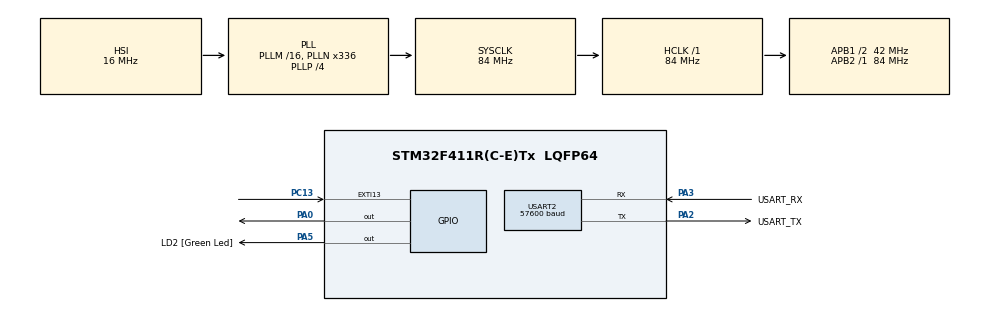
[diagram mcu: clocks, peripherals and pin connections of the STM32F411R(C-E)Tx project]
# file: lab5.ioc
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Dma.Request0=USART2_RX
Dma.Request1=USART2_TX
Dma.USART2_RX.0.Direction=DMA_PERIPH_TO_MEMORY
Dma.USART2_RX.0.FIFOMode=DMA_FIFOMODE_DISABLE
Dma.USART2_RX.0.Instance=DMA1_Stream5
Dma.USART2_RX.0.MemDataAlignment=DMA_MDATAALIGN_BYTE
Dma.USART2_RX.0.MemInc=DMA_MINC_ENABLE
Dma.USART2_RX.0.Mode=DMA_CIRCULAR
Dma.USART2_RX.0.PeriphDataAlignment=DMA_PDATAALIGN_BYTE
Dma.USART2_RX.0.PeriphInc=DMA_PINC_DISABLE
Dma.USART2_RX.0.Priority=DMA_PRIORITY_LOW
Dma.USART2_TX.1.Direction=DMA_MEMORY_TO_PERIPH
Dma.USART2_TX.1.FIFOMode=DMA_FIFOMODE_DISABLE
Dma.USART2_TX.1.Instance=DMA1_Stream6
Dma.USART2_TX.1.MemDataAlignment=DMA_MDATAALIGN_BYTE
Dma.USART2_TX.1.MemInc=DMA_MINC_ENABLE
Dma.USART2_TX.1.Mode=DMA_NORMAL
Dma.USART2_TX.1.PeriphDataAlignment=DMA_PDATAALIGN_BYTE
Dma.USART2_TX.1.PeriphInc=DMA_PINC_DISABLE
Dma.USART2_TX.1.Priority=DMA_PRIORITY_LOW
Mcu.Family=STM32F4
Mcu.Name=STM32F411R(C-E)Tx
Mcu.Package=LQFP64
NVIC.DMA1_Stream5_IRQn=true\:0\:0\:false\:false\:true\:false\:true\:true
NVIC.DMA1_Stream6_IRQn=true\:0\:0\:false\:false\:true\:false\:true\:true
NVIC.PriorityGroup=NVIC_PRIORITYGROUP_0
NVIC.USART2_IRQn=true\:0\:0\:false\:false\:true\:true\:true\:true
PA0-WKUP.Signal=GPIO_Output
PA13.GPIO_Label=TMS
PA13.Mode=Serial_Wire
PA13.Signal=SYS_JTMS-SWDIO
PA14.GPIO_Label=TCK
PA14.Mode=Serial_Wire
PA14.Signal=SYS_JTCK-SWCLK
PA2.GPIO_Label=USART_TX
PA2.Mode=Asynchronous
PA2.Signal=USART2_TX
PA3.GPIO_Label=USART_RX
PA3.Mode=Asynchronous
PA3.Signal=USART2_RX
PA5.GPIO_Label=LD2 [Green Led]
PA5.Signal=GPIO_Output
PB3.GPIO_Label=SWO
PB3.Signal=SYS_JTDO-SWO
PC13-ANTI_TAMP.Signal=GPXTI13
PC14-OSC32_IN.Mode=LSE-External-Oscillator
PC14-OSC32_IN.Signal=RCC_OSC32_IN
PC15-OSC32_OUT.Mode=LSE-External-Oscillator
PC15-OSC32_OUT.Signal=RCC_OSC32_OUT
PH0\ -\ OSC_IN.Mode=HSE-External-Clock-Source
PH0\ -\ OSC_IN.Signal=RCC_OSC_IN
PH1\ -\ OSC_OUT.Mode=HSE-External-Clock-Source
PH1\ -\ OSC_OUT.Signal=RCC_OSC_OUT
ProjectManager.HeapSize=0x200
ProjectManager.StackSize=0x400
ProjectManager.TargetToolchain=STM32CubeIDE
RCC.48MHZClocksFreq_Value=84000000
RCC.AHBFreq_Value=84000000
RCC.APB1CLKDivider=RCC_HCLK_DIV2
RCC.APB1Freq_Value=42000000
RCC.APB1TimFreq_Value=84000000
RCC.APB2Freq_Value=84000000
RCC.APB2TimFreq_Value=84000000
RCC.CortexFreq_Value=84000000
RCC.FLatency-AdvancedSettings=FLASH_LATENCY_2
RCC.HCLKFreq_Value=84000000
RCC.HSE_VALUE=8000000
RCC.HSI_VALUE=16000000
RCC.PLLN=336
RCC.PLLP=RCC_PLLP_DIV4
RCC.SYSCLKFreq_VALUE=84000000
RCC.SYSCLKSource=RCC_SYSCLKSOURCE_PLLCLK
RCC.VCOOutputFreq_Value=336000000
USART2.BaudRate=57600
USART2.VirtualMode=VM_ASYNC
board=NUCLEO-F411RE

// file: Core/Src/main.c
/* USER CODE BEGIN Header */
/**
 ******************************************************************************
 * @file           : main.c
 * @brief          : Main program body
 ******************************************************************************
 * @attention
 *
 * Copyright (c) 2023 STMicroelectronics.
 * All rights reserved.
 *
 * This software is licensed under terms that can be found in the LICENSE file
 * in the root directory of this software component.
 * If no LICENSE file comes with this software, it is provided AS-IS.
 *
 ******************************************************************************
 */
/* USER CODE END Header */
#include "main.h"

/* USER CODE BEGIN Includes */
// Napat Uraisomsurat
#include "stdio.h"
#include "string.h"
/* USER CODE END Includes */

UART_HandleTypeDef huart2;
DMA_HandleTypeDef hdma_usart2_rx;
DMA_HandleTypeDef hdma_usart2_tx;

/* USER CODE BEGIN PV */
uint8_t RxBuffer[2];
uint8_t TxBuffer[200] = {0};

uint8_t MyHz[5];

uint8_t Input = 0;
uint8_t OnOff = 0;
int8_t Hz = 5;
uint8_t Mode0Flag = 0;
uint8_t Mode1Flag = 0;

uint8_t back[] =
		"\r\nBack to main menu\r\n\r\nPlease select mode\r\n -> 0 : LED Control\r\n -> 1 : Button Status\r\n__________________________\r\n";
uint8_t unpress[] = "Unpress Button\r\n";
uint8_t press[] = "Press Button\r\n";
uint8_t welcome[] =
		"__________________________\r\n\r\n   Welcome to main menu!  \r\n__________________________\r\n\r\n -> 0 : LED Control\r\n -> 1 : Button Status\r\n";

// create structure type
struct _GPIOState {
	GPIO_PinState Current;
	GPIO_PinState Last;
};

// declare variable
struct _GPIOState Button1;

/* USER CODE END PV */

void SystemClock_Config(void);
static void MX_GPIO_Init(void);
static void MX_DMA_Init(void);
static void MX_USART2_UART_Init(void);
/* USER CODE BEGIN PFP */
void UARTInterruptConfig();
void AssignMode();
void ButtonStatus();
void LEDControl();
void BlinkLED();
void WrongInput();
/* USER CODE END PFP */

int main(void) {

	/* MCU Configuration--------------------------------------------------------*/

	/* Reset of all peripherals, Initializes the Flash interface and the Systick. */
	HAL_Init();

	/* Configure the system clock */
	SystemClock_Config();

	/* Initialize all configured peripherals */
	MX_GPIO_Init();
	MX_DMA_Init();
	MX_USART2_UART_Init();
	/* USER CODE BEGIN 2 */
	HAL_UART_Transmit_DMA(&huart2, welcome, sizeof(welcome) - 1);

	UARTInterruptConfig();
	/* USER CODE END 2 */

	/* Infinite loop */
	while (1) {

		/* USER CODE BEGIN 3 */
		HAL_GPIO_TogglePin(GPIOA, GPIO_PIN_0);

		if (Mode1Flag) {
			ButtonStatus();
		}
		if (OnOff == 1) {
			BlinkLED();
		} else if (OnOff == 0) {
			HAL_GPIO_WritePin(GPIOA, GPIO_PIN_5, 0);
		}

	}
	/* USER CODE END 3 */
}

void SystemClock_Config(void) {
	RCC_OscInitTypeDef RCC_OscInitStruct = { 0 };
	RCC_ClkInitTypeDef RCC_ClkInitStruct = { 0 };

	/** Configure the main internal regulator output voltage
	 */
	__HAL_RCC_PWR_CLK_ENABLE();
	__HAL_PWR_VOLTAGESCALING_CONFIG(PWR_REGULATOR_VOLTAGE_SCALE1);

	/** Initializes the RCC Oscillators according to the specified parameters
	 * in the RCC_OscInitTypeDef structure.
	 */
	RCC_OscInitStruct.OscillatorType = RCC_OSCILLATORTYPE_HSI;
	RCC_OscInitStruct.HSIState = RCC_HSI_ON;
	RCC_OscInitStruct.HSICalibrationValue = RCC_HSICALIBRATION_DEFAULT;
	RCC_OscInitStruct.PLL.PLLState = RCC_PLL_ON;
	RCC_OscInitStruct.PLL.PLLSource = RCC_PLLSOURCE_HSI;
	RCC_OscInitStruct.PLL.PLLM = 16;
	RCC_OscInitStruct.PLL.PLLN = 336;
	RCC_OscInitStruct.PLL.PLLP = RCC_PLLP_DIV4;
	RCC_OscInitStruct.PLL.PLLQ = 4;
	if (HAL_RCC_OscConfig(&RCC_OscInitStruct) != HAL_OK) {
		Error_Handler();
	}

	/** Initializes the CPU, AHB and APB buses clocks
	 */
	RCC_ClkInitStruct.ClockType = RCC_CLOCKTYPE_HCLK | RCC_CLOCKTYPE_SYSCLK
			| RCC_CLOCKTYPE_PCLK1 | RCC_CLOCKTYPE_PCLK2;
	RCC_ClkInitStruct.SYSCLKSource = RCC_SYSCLKSOURCE_PLLCLK;
	RCC_ClkInitStruct.AHBCLKDivider = RCC_SYSCLK_DIV1;
	RCC_ClkInitStruct.APB1CLKDivider = RCC_HCLK_DIV2;
	RCC_ClkInitStruct.APB2CLKDivider = RCC_HCLK_DIV1;

	if (HAL_RCC_ClockConfig(&RCC_ClkInitStruct, FLASH_LATENCY_2) != HAL_OK) {
		Error_Handler();
	}
}

static void MX_USART2_UART_Init(void) {

	huart2.Instance = USART2;
	huart2.Init.BaudRate = 57600;
	huart2.Init.WordLength = UART_WORDLENGTH_8B;
	huart2.Init.StopBits = UART_STOPBITS_1;
	huart2.Init.Parity = UART_PARITY_NONE;
	huart2.Init.Mode = UART_MODE_TX_RX;
	huart2.Init.HwFlowCtl = UART_HWCONTROL_NONE;
	huart2.Init.OverSampling = UART_OVERSAMPLING_16;
	if (HAL_UART_Init(&huart2) != HAL_OK) {
		Error_Handler();
	}

}

static void MX_DMA_Init(void) {

	/* DMA controller clock enable */
	__HAL_RCC_DMA1_CLK_ENABLE();

	/* DMA interrupt init */
	/* DMA1_Stream5_IRQn interrupt configuration */
	HAL_NVIC_SetPriority(DMA1_Stream5_IRQn, 0, 0);
	HAL_NVIC_EnableIRQ(DMA1_Stream5_IRQn);
	/* DMA1_Stream6_IRQn interrupt configuration */
	HAL_NVIC_SetPriority(DMA1_Stream6_IRQn, 0, 0);
	HAL_NVIC_EnableIRQ(DMA1_Stream6_IRQn);

}

static void MX_GPIO_Init(void) {
	GPIO_InitTypeDef GPIO_InitStruct = { 0 };

	/* GPIO Ports Clock Enable */
	__HAL_RCC_GPIOC_CLK_ENABLE();
	__HAL_RCC_GPIOH_CLK_ENABLE();
	__HAL_RCC_GPIOA_CLK_ENABLE();
	__HAL_RCC_GPIOB_CLK_ENABLE();

	/*Configure GPIO pin Output Level */
	HAL_GPIO_WritePin(GPIOA, GPIO_PIN_0 | LD2_Pin, GPIO_PIN_RESET);

	/*Configure GPIO pin : PC13 */
	GPIO_InitStruct.Pin = GPIO_PIN_13;
	GPIO_InitStruct.Mode = GPIO_MODE_IT_RISING;
	GPIO_InitStruct.Pull = GPIO_NOPULL;
	HAL_GPIO_Init(GPIOC, &GPIO_InitStruct);

	/*Configure GPIO pins : PA0 LD2_Pin */
	GPIO_InitStruct.Pin = GPIO_PIN_0 | LD2_Pin;
	GPIO_InitStruct.Mode = GPIO_MODE_OUTPUT_PP;
	GPIO_InitStruct.Pull = GPIO_NOPULL;
	GPIO_InitStruct.Speed = GPIO_SPEED_FREQ_LOW;
	HAL_GPIO_Init(GPIOA, &GPIO_InitStruct);

}

/* USER CODE BEGIN 4 */
// Blink LED x Hz
void BlinkLED() {
	static uint32_t timestamp = 0;
	if (HAL_GetTick() >= timestamp) {
		timestamp = HAL_GetTick() + ((1.0/Hz) * 500);
		HAL_GPIO_TogglePin(GPIOA, GPIO_PIN_5);
	}
}

void UARTInterruptConfig() {
	// start UART in DMA mode
	HAL_UART_Receive_IT(&huart2, RxBuffer, 1);
}

void HAL_UART_RxCpltCallback(UART_HandleTypeDef *huart) {
	if (huart == &huart2) {
		Input = RxBuffer[0];
		AssignMode();

		// recall receive interrupt
		HAL_UART_Receive_IT(&huart2, RxBuffer, 1);
	}
}
void AssignMode() {
	if (Input == 120) {
		Mode0Flag = 0;
		Mode1Flag = 0;
		sprintf((char*) TxBuffer, back);
		HAL_UART_Transmit_DMA(&huart2, TxBuffer, strlen((char*) TxBuffer));
	}
	// mode 0
	else if ((Input == 48) || (Mode0Flag == 1)) { // 97 100 115
		if (Mode0Flag == 0) {
			Mode0Flag = 1;
			HAL_GPIO_WritePin(GPIOA, GPIO_PIN_5, 0);
			sprintf((char*) TxBuffer,"\r\nYour input : %c \r\nYou are in mode LED Control\r\n - a : Speed Up + 1 Hz\r\n - s : Speed Down - 1 Hz\r\n - d : On/Off\r\n - x : Back to main menu\r\n__________________________\r\n", RxBuffer[0]);
			HAL_UART_Transmit_DMA(&huart2, TxBuffer, strlen((char*) TxBuffer));
		} else {
			LEDControl();
		}
	}
	// mode 1
	else if (Input == 49){
		if (Mode1Flag == 0) {
			Mode1Flag = 1;
			Button1.Last = 1;
			sprintf((char*) TxBuffer,
					"\r\nYour input : %c \r\nYou are in mode Button Status\r\n -> Press blue button on nucleo board\r\n -> x : Back to main menu\r\n__________________________\r\n", RxBuffer[0]);
			HAL_UART_Transmit_DMA(&huart2, TxBuffer, strlen((char*)TxBuffer));
		}
	}
	else {
		WrongInput();
	}
}

// mode buttonStatus
void ButtonStatus() {
	Button1.Current = HAL_GPIO_ReadPin(GPIOC, GPIO_PIN_13);

	// detect button press by using failing edge detector
	if (Button1.Last == 0 && Button1.Current == 1) {
		sprintf((char*) TxBuffer, unpress);
		HAL_UART_Transmit_DMA(&huart2, TxBuffer, strlen((char*) TxBuffer));
	} else if (Button1.Last == 1 && Button1.Current == 0) {
		sprintf((char*) TxBuffer, press);
		HAL_UART_Transmit_DMA(&huart2, TxBuffer, strlen((char*) TxBuffer));
	}

	// update
	Button1.Last = Button1.Current;
}

void LEDControl() {
	switch (Input) {
	default:
		WrongInput();
		break;

	case 97: // speed up + 1 Hz
		Hz = Hz + 1;
		sprintf((char*) TxBuffer,
				"\r\nSpeed Up 1 Hz\r\nLED blink(Hz): %d\r\n\r\nMenu LED Control\r\n - a : Speed Up + 1 Hz\r\n - s : Speed Down - 1 Hz\r\n - d : On/Off\r\n - x : Back to main menu\r\n__________________________\r\n", Hz);
		HAL_UART_Transmit_DMA(&huart2, TxBuffer, strlen((char*) TxBuffer));
		break;

	case 100: // On / Off
		if (OnOff == 1) {
			OnOff = 0;
			sprintf((char*) TxBuffer, "\r\noff LED\r\n\r\nMenu LED Control\r\n - a : Speed Up + 1 Hz\r\n - s : Speed Down - 1 Hz\r\n - d : On/Off\r\n - x : Back to main menu\r\n__________________________\r\n");
			HAL_UART_Transmit_DMA(&huart2, TxBuffer, strlen((char*) TxBuffer));
		} else if (OnOff == 0) {
			OnOff = 1;
			sprintf((char*) TxBuffer, "\r\non LED\r\nLED blink(Hz): %d\r\n\r\nMenu LED Control\r\n - a : Speed Up + 1 Hz\r\n - s : Speed Down - 1 Hz\r\n - d : On/Off\r\n - x : Back to main menu\r\n__________________________\r\n",
					Hz);
			HAL_UART_Transmit_DMA(&huart2, TxBuffer, strlen((char*) TxBuffer));
		}
		break;

	case 115: // speed down - 1 Hz
		Hz = Hz - 1;
		if(Hz < 0){
			Hz = Hz + 1;
			sprintf((char*) TxBuffer,
					"\r\nLED does not blink\r\n\r\nMenu LED Control\r\n - a : Speed Up + 1 Hz\r\n - s : Speed Down - 1 Hz\r\n - d : On/Off\r\n - x : Back to main menu\r\n__________________________\r\n");
			HAL_UART_Transmit_DMA(&huart2, TxBuffer, strlen((char*) TxBuffer));
		}
		else if(Hz >= 0){
			sprintf((char*) TxBuffer,
					"\r\nSpeed Down 1 Hz\r\nLED blink(Hz): %d\r\n\r\nMenu LED Control\r\n - a : Speed Up + 1 Hz\r\n - s : Speed Down - 1 Hz\r\n - d : On/Off\r\n - x : Back to main menu\r\n__________________________\r\n", Hz);
			HAL_UART_Transmit_DMA(&huart2, TxBuffer, strlen((char*) TxBuffer));}
		break;
	}
}

void WrongInput() {
	sprintf((char*) TxBuffer,
			"\r\nYour input : %c \r\nIncorrect input try again\r\nPress x : Back to main menu\r\n__________________________\r\n", RxBuffer[0]);
	HAL_UART_Transmit_DMA(&huart2, TxBuffer, strlen((char*) (TxBuffer)));
}
/* USER CODE END 4 */

void Error_Handler(void) {
	__disable_irq();
	while (1) {
	}
}
